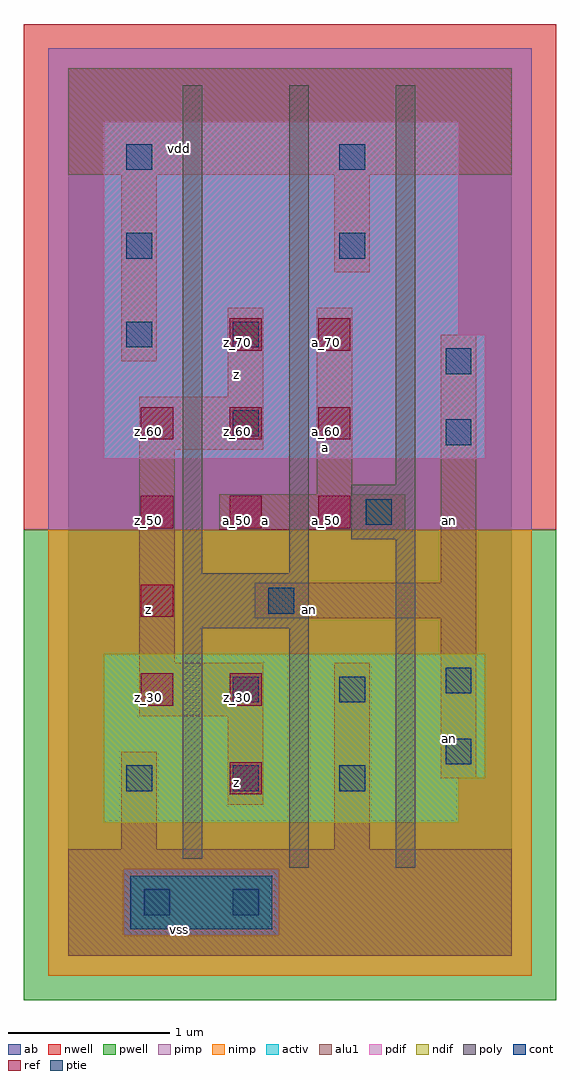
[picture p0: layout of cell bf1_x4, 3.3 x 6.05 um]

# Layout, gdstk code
import gdstk
lib = gdstk.Library(unit=1e-6, precision=2.5e-09)
def R(c, l, rs):  # rectangles x0, y0, x1, y1
    for r in rs: c.add(gdstk.rectangle(r[:2], r[2:], *l))
def A(c, l, x, y, w, h, nx, ny, dx, dy):  # array of equal rectangles
    R(c, l, [(x+i*dx, y+j*dy, x+i*dx+w, y+j*dy+h) for i in range(nx) for j in range(ny)])
ndif = (3, 0)
pdif = (4, 0)
ptie = (6, 0)
ref = (24, 0)
cont = (25, 0)
pwell = (41, 0)
nwell = (42, 0)
activ = (43, 0)
pimp = (44, 0)
nimp = (45, 0)
poly = (46, 0)
alu1 = (49, 0)
ab = (63, 0)

bf1_x4 = lib.new_cell('bf1_x4')
R(bf1_x4, ndif, [(0.22,0.825,2.42,1.1), (0.22,1.1,2.585,1.87)])
R(bf1_x4, pdif, [(0.22,3.08,2.585,3.85), (0.22,3.85,2.42,5.17)])
R(bf1_x4, ptie, [(0.385,0.165,1.265,0.495)])
A(bf1_x4, ref, 0.45, 2.65, 0.2, 0.2, 3, 2, 0.55, 0.55)
R(bf1_x4, ref, [(1,1,1.2,1.2), (0.45,1.55,0.65,1.75), (1,1.55,1.2,1.75), (0.45,2.1,0.65,2.3), (1,3.75,1.2,3.95), (1.55,3.75,1.75,3.95)])
A(bf1_x4, cont, 0.36, 1.02, 0.16, 0.16, 3, 1, 0.66, 0)
A(bf1_x4, cont, 0.36, 3.77, 0.16, 0.16, 1, 3, 0, 0.55)
R(bf1_x4, cont, [(0.47,0.25,0.63,0.41), (1.02,0.25,1.18,0.41), (2.34,1.185,2.5,1.345), (1.02,1.57,1.18,1.73), (1.68,1.57,1.84,1.73), (2.34,1.625,2.5,1.785), (1.24,2.12,1.4,2.28), (1.845,2.67,2.005,2.83), (2.34,3.165,2.5,3.325), (1.02,3.22,1.18,3.38), (2.34,3.605,2.5,3.765), (1.02,3.77,1.18,3.93), (1.68,4.32,1.84,4.48), (1.68,4.87,1.84,5.03)])
R(bf1_x4, pwell, [(-0.275,-0.275,3.025,2.64)])
R(bf1_x4, nwell, [(-0.275,2.64,3.025,5.775)])
R(bf1_x4, activ, [(0.385,0.165,1.265,0.495), (0.22,0.825,2.42,1.1), (0.22,1.1,2.585,1.87), (0.22,3.08,2.585,3.85), (0.22,3.85,2.42,5.17)])
R(bf1_x4, pimp, [(0.345,0.125,1.305,0.535), (-0.125,2.64,2.875,5.625)])
R(bf1_x4, nimp, [(-0.125,-0.125,2.875,0.125), (-0.125,0.125,0.345,0.535), (1.305,0.125,2.875,0.535), (-0.125,0.535,2.875,2.64)])
R(bf1_x4, poly, [(1.37,0.545,1.49,2.03), (2.03,0.545,2.15,2.58), (0.71,0.6,0.83,2.03), (0.71,2.03,1.49,2.37), (0.71,2.37,0.83,5.395), (1.37,2.37,1.49,5.395), (1.755,2.58,2.15,2.92), (2.03,2.92,2.15,5.395)])
R(bf1_x4, alu1, [(0,0,2.75,0.66), (0.33,0.66,0.55,1.265), (1.65,0.66,1.87,1.815), (0.99,0.935,1.21,1.485), (2.31,1.1,2.53,2.09), (0.44,1.485,1.21,1.815), (0.44,1.815,0.66,3.135), (1.155,2.09,2.53,2.31), (2.31,2.31,2.53,3.85), (0.935,2.64,2.09,2.86), (1.54,2.86,1.76,4.015), (0.44,3.135,1.21,3.465), (0.99,3.465,1.21,4.015), (0.33,3.685,0.55,4.84), (1.65,4.235,1.87,4.84), (0,4.84,2.75,5.5)])
R(bf1_x4, ab, [(0,0,2.75,5.5)])
bf1_x4.add(gdstk.Label('vss', (0.6875,0.165), layer=49, texttype=0))
bf1_x4.add(gdstk.Label('an', (2.365,1.3475), layer=49, texttype=0))
bf1_x4.add(gdstk.Label('z', (1.045,1.0725), layer=49, texttype=0))
bf1_x4.add(gdstk.Label('an', (1.4975,2.145), layer=49, texttype=0))
bf1_x4.add(gdstk.Label('an', (2.365,2.695), layer=49, texttype=0))
bf1_x4.add(gdstk.Label('a', (1.2225,2.695), layer=49, texttype=0))
bf1_x4.add(gdstk.Label('a', (1.595,3.1475), layer=49, texttype=0))
bf1_x4.add(gdstk.Label('z', (0.495,2.145), layer=49, texttype=0))
bf1_x4.add(gdstk.Label('z', (1.045,3.6025), layer=49, texttype=0))
bf1_x4.add(gdstk.Label('vdd', (0.6875,5.005), layer=49, texttype=0))
bf1_x4.add(gdstk.Label('a_70', (1.6,3.8), layer=24, texttype=0))
bf1_x4.add(gdstk.Label('z_30', (0.5,1.6), layer=24, texttype=0))
bf1_x4.add(gdstk.Label('z_20', (1.05,1.05), layer=24, texttype=0))
bf1_x4.add(gdstk.Label('a_50', (1.6,2.7), layer=24, texttype=0))
bf1_x4.add(gdstk.Label('z_50', (0.5,2.7), layer=24, texttype=0))
bf1_x4.add(gdstk.Label('z_60', (1.05,3.25), layer=24, texttype=0))
bf1_x4.add(gdstk.Label('z_30', (1.05,1.6), layer=24, texttype=0))
bf1_x4.add(gdstk.Label('z_40', (0.5,2.15), layer=24, texttype=0))
bf1_x4.add(gdstk.Label('z_60', (0.5,3.25), layer=24, texttype=0))
bf1_x4.add(gdstk.Label('z_70', (1.05,3.8), layer=24, texttype=0))
bf1_x4.add(gdstk.Label('a_50', (1.05,2.7), layer=24, texttype=0))
bf1_x4.add(gdstk.Label('a_60', (1.6,3.25), layer=24, texttype=0))

lib.write_gds('bf1_x4.gds')
